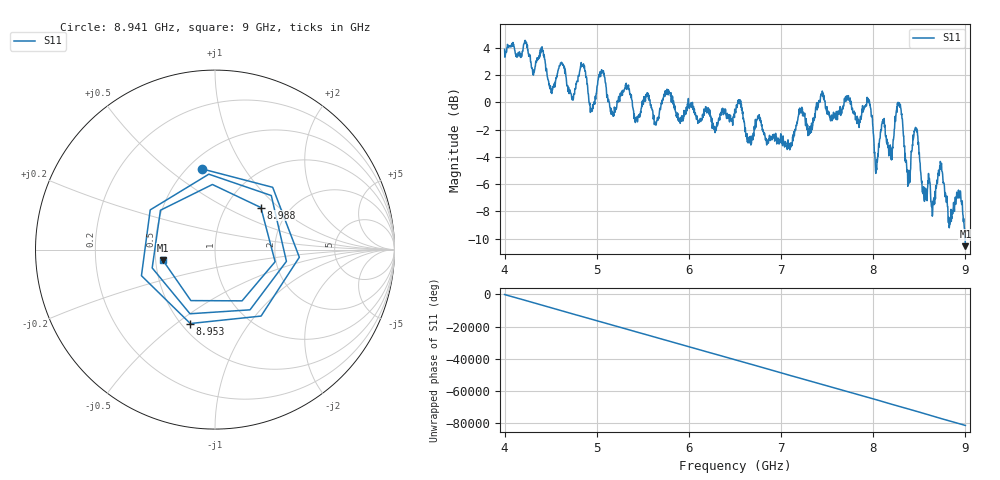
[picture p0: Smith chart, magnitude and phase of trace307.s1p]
! Created with skrf 1.8.0 (http://scikit-rf.org).
# Hz S RI R 50.0
!freq ReS11 ImS11
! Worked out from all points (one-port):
!   1601 points, 4 GHz to 9 GHz, reference 50 ohm
!   lowest |S11| = -10.6 dB at 9 GHz (marker M1), VSWR 1.84, Z = 27.3 - j3.53 ohm
!   |S11| at or under -10 dB: 8.99634 GHz to end of sweep
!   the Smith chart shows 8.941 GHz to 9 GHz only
!   S11 on the Smith chart (normalised r, x): 8.941 GHz: 0.59, +0.67; 8.953 GHz: 0.55, -0.56; 8.988 GHz: 1.44, +0.77; 9 GHz: 0.55, -0.07
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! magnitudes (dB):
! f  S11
! 4 GHz  3.9
! 4.406 GHz  4.1
! 4.506 GHz  0.7
! 4.625 GHz  2.9
! 4.734 GHz  0.2
! 4.853 GHz  2.7
! 4.941 GHz  -0.5
! 5.05 GHz  2.2
! 5.162 GHz  -0.9
! 5.25 GHz  0.1
! 5.875 GHz  -0.8
! 6.5 GHz  -0.8
! 7.125 GHz  -2.5
! 7.441 GHz  0.6
! 7.75 GHz  0.3
! 7.953 GHz  0.0
! 8.038 GHz  -4.9
! 8.194 GHz  -4.1
! 8.288 GHz  -0.3
! 8.375 GHz  -6.2
! 8.459 GHz  -1.8
! 8.559 GHz  -6.3
! 8.728 GHz  -4.3
! 8.831 GHz  -9.0
! 8.941 GHz  -6.8
! 8.953 GHz  -7.2
! 8.988 GHz  -9.2
! 9 GHz  -10.6
